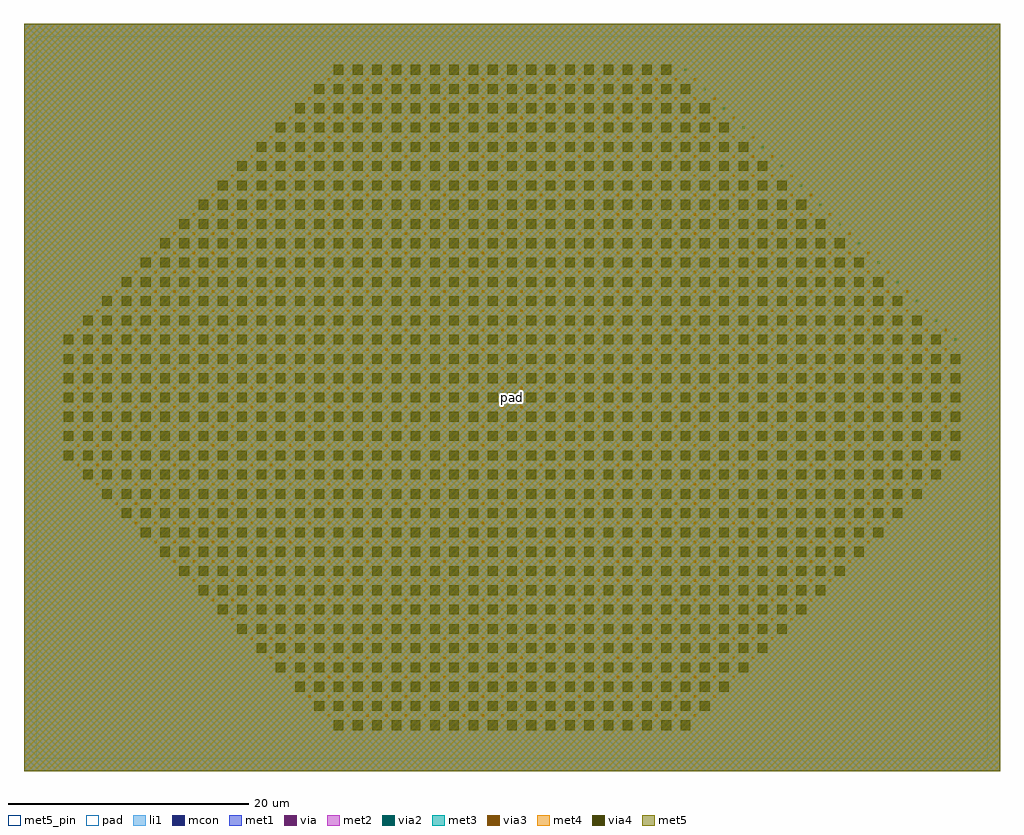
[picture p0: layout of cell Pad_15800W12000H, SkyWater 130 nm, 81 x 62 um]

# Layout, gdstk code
import gdstk
lib = gdstk.Library(unit=1e-6, precision=1e-09)
def R(c, l, rs):  # rectangles x0, y0, x1, y1
    for r in rs: c.add(gdstk.rectangle(r[:2], r[2:], *l))
def A(c, l, x, y, w, h, nx, ny, dx, dy):  # array of equal rectangles
    R(c, l, [(x+i*dx, y+j*dy, x+i*dx+w, y+j*dy+h) for i in range(nx) for j in range(ny)])
li1 = (67, 20)
mcon = (67, 44)
met1 = (68, 20)
via = (68, 44)
met2 = (69, 20)
via2 = (69, 44)
met3 = (70, 20)
via3 = (70, 44)
met4 = (71, 20)
via4 = (71, 44)
met5_pin = (72, 16)
met5 = (72, 20)
pad = (76, 20)

pad_15800w12000h = lib.new_cell('Pad_15800W12000H')
R(pad_15800w12000h, li1, [(-40.5,-31,40.5,31)])
A(pad_15800w12000h, mcon, -14.485, -27.285, 0.17, 0.17, 19, 2, 1.6, 54.4)
A(pad_15800w12000h, mcon, -16.085, -25.685, 0.17, 0.17, 21, 2, 1.6, 51.2)
A(pad_15800w12000h, mcon, -17.685, -24.085, 0.17, 0.17, 23, 2, 1.6, 48)
A(pad_15800w12000h, mcon, -19.285, -22.485, 0.17, 0.17, 25, 2, 1.6, 44.8)
A(pad_15800w12000h, mcon, -20.885, -20.885, 0.17, 0.17, 27, 2, 1.6, 41.6)
A(pad_15800w12000h, mcon, -22.485, -19.285, 0.17, 0.17, 29, 2, 1.6, 38.4)
A(pad_15800w12000h, mcon, -24.085, -17.685, 0.17, 0.17, 31, 2, 1.6, 35.2)
A(pad_15800w12000h, mcon, -25.685, -16.085, 0.17, 0.17, 33, 2, 1.6, 32)
A(pad_15800w12000h, mcon, -27.285, -14.485, 0.17, 0.17, 35, 2, 1.6, 28.8)
A(pad_15800w12000h, mcon, -28.885, -12.885, 0.17, 0.17, 37, 2, 1.6, 25.6)
A(pad_15800w12000h, mcon, -30.485, -11.285, 0.17, 0.17, 39, 2, 1.6, 22.4)
A(pad_15800w12000h, mcon, -32.085, -9.685, 0.17, 0.17, 41, 2, 1.6, 19.2)
A(pad_15800w12000h, mcon, -33.685, -8.085, 0.17, 0.17, 43, 2, 1.6, 16)
A(pad_15800w12000h, mcon, -35.285, -6.485, 0.17, 0.17, 45, 2, 1.6, 12.8)
A(pad_15800w12000h, mcon, -36.885, -4.885, 0.17, 0.17, 47, 7, 1.6, 1.6)
R(pad_15800w12000h, met1, [(-40.5,-31,40.5,31)])
A(pad_15800w12000h, via, -15.275, -26.475, 0.15, 0.15, 20, 2, 1.6, 52.8)
A(pad_15800w12000h, via, -16.875, -24.875, 0.15, 0.15, 22, 2, 1.6, 49.6)
A(pad_15800w12000h, via, -18.475, -23.275, 0.15, 0.15, 24, 2, 1.6, 46.4)
A(pad_15800w12000h, via, -20.075, -21.675, 0.15, 0.15, 26, 2, 1.6, 43.2)
A(pad_15800w12000h, via, -21.675, -20.075, 0.15, 0.15, 28, 2, 1.6, 40)
A(pad_15800w12000h, via, -23.275, -18.475, 0.15, 0.15, 30, 2, 1.6, 36.8)
A(pad_15800w12000h, via, -24.875, -16.875, 0.15, 0.15, 32, 2, 1.6, 33.6)
A(pad_15800w12000h, via, -26.475, -15.275, 0.15, 0.15, 34, 2, 1.6, 30.4)
A(pad_15800w12000h, via, -28.075, -13.675, 0.15, 0.15, 36, 2, 1.6, 27.2)
A(pad_15800w12000h, via, -29.675, -12.075, 0.15, 0.15, 38, 2, 1.6, 24)
A(pad_15800w12000h, via, -31.275, -10.475, 0.15, 0.15, 40, 2, 1.6, 20.8)
A(pad_15800w12000h, via, -32.875, -8.875, 0.15, 0.15, 42, 2, 1.6, 17.6)
A(pad_15800w12000h, via, -34.475, -7.275, 0.15, 0.15, 44, 2, 1.6, 14.4)
A(pad_15800w12000h, via, -36.075, -5.675, 0.15, 0.15, 46, 8, 1.6, 1.6)
R(pad_15800w12000h, met2, [(-40.5,-31,40.5,31)])
A(pad_15800w12000h, via2, -14.5, -27.3, 0.2, 0.2, 19, 2, 1.6, 54.4)
A(pad_15800w12000h, via2, -16.1, -25.7, 0.2, 0.2, 21, 2, 1.6, 51.2)
A(pad_15800w12000h, via2, -17.7, -24.1, 0.2, 0.2, 23, 2, 1.6, 48)
A(pad_15800w12000h, via2, -19.3, -22.5, 0.2, 0.2, 25, 2, 1.6, 44.8)
A(pad_15800w12000h, via2, -20.9, -20.9, 0.2, 0.2, 27, 2, 1.6, 41.6)
A(pad_15800w12000h, via2, -22.5, -19.3, 0.2, 0.2, 29, 2, 1.6, 38.4)
A(pad_15800w12000h, via2, -24.1, -17.7, 0.2, 0.2, 31, 2, 1.6, 35.2)
A(pad_15800w12000h, via2, -25.7, -16.1, 0.2, 0.2, 33, 2, 1.6, 32)
A(pad_15800w12000h, via2, -27.3, -14.5, 0.2, 0.2, 35, 2, 1.6, 28.8)
A(pad_15800w12000h, via2, -28.9, -12.9, 0.2, 0.2, 37, 2, 1.6, 25.6)
A(pad_15800w12000h, via2, -30.5, -11.3, 0.2, 0.2, 39, 2, 1.6, 22.4)
A(pad_15800w12000h, via2, -32.1, -9.7, 0.2, 0.2, 41, 2, 1.6, 19.2)
A(pad_15800w12000h, via2, -33.7, -8.1, 0.2, 0.2, 43, 2, 1.6, 16)
A(pad_15800w12000h, via2, -35.3, -6.5, 0.2, 0.2, 45, 2, 1.6, 12.8)
A(pad_15800w12000h, via2, -36.9, -4.9, 0.2, 0.2, 47, 7, 1.6, 1.6)
R(pad_15800w12000h, met3, [(-40.5,-31,40.5,31)])
A(pad_15800w12000h, via3, -15.3, -26.5, 0.2, 0.2, 20, 2, 1.6, 52.8)
A(pad_15800w12000h, via3, -16.9, -24.9, 0.2, 0.2, 22, 2, 1.6, 49.6)
A(pad_15800w12000h, via3, -18.5, -23.3, 0.2, 0.2, 24, 2, 1.6, 46.4)
A(pad_15800w12000h, via3, -20.1, -21.7, 0.2, 0.2, 26, 2, 1.6, 43.2)
A(pad_15800w12000h, via3, -21.7, -20.1, 0.2, 0.2, 28, 2, 1.6, 40)
A(pad_15800w12000h, via3, -23.3, -18.5, 0.2, 0.2, 30, 2, 1.6, 36.8)
A(pad_15800w12000h, via3, -24.9, -16.9, 0.2, 0.2, 32, 2, 1.6, 33.6)
A(pad_15800w12000h, via3, -26.5, -15.3, 0.2, 0.2, 34, 2, 1.6, 30.4)
A(pad_15800w12000h, via3, -28.1, -13.7, 0.2, 0.2, 36, 2, 1.6, 27.2)
A(pad_15800w12000h, via3, -29.7, -12.1, 0.2, 0.2, 38, 2, 1.6, 24)
A(pad_15800w12000h, via3, -31.3, -10.5, 0.2, 0.2, 40, 2, 1.6, 20.8)
A(pad_15800w12000h, via3, -32.9, -8.9, 0.2, 0.2, 42, 2, 1.6, 17.6)
A(pad_15800w12000h, via3, -34.5, -7.3, 0.2, 0.2, 44, 2, 1.6, 14.4)
A(pad_15800w12000h, via3, -36.1, -5.7, 0.2, 0.2, 46, 8, 1.6, 1.6)
R(pad_15800w12000h, met4, [(-40.5,-31,40.5,31)])
A(pad_15800w12000h, via4, -14.8, -27.6, 0.8, 0.8, 19, 1, 1.6, 0)
A(pad_15800w12000h, via4, -16.4, -26, 0.8, 0.8, 21, 1, 1.6, 0)
A(pad_15800w12000h, via4, -18, -24.4, 0.8, 0.8, 23, 1, 1.6, 0)
A(pad_15800w12000h, via4, -19.6, -22.8, 0.8, 0.8, 25, 1, 1.6, 0)
A(pad_15800w12000h, via4, -21.2, -21.2, 0.8, 0.8, 27, 1, 1.6, 0)
A(pad_15800w12000h, via4, -22.8, -19.6, 0.8, 0.8, 29, 1, 1.6, 0)
A(pad_15800w12000h, via4, -24.4, -18, 0.8, 0.8, 31, 1, 1.6, 0)
A(pad_15800w12000h, via4, -26, -16.4, 0.8, 0.8, 33, 1, 1.6, 0)
A(pad_15800w12000h, via4, -27.6, -14.8, 0.8, 0.8, 35, 1, 1.6, 0)
A(pad_15800w12000h, via4, -29.2, -13.2, 0.8, 0.8, 37, 1, 1.6, 0)
A(pad_15800w12000h, via4, -30.8, -11.6, 0.8, 0.8, 39, 1, 1.6, 0)
A(pad_15800w12000h, via4, -32.4, -10, 0.8, 0.8, 41, 1, 1.6, 0)
A(pad_15800w12000h, via4, -34, -8.4, 0.8, 0.8, 43, 1, 1.6, 0)
A(pad_15800w12000h, via4, -35.6, -6.8, 0.8, 0.8, 45, 1, 1.6, 0)
A(pad_15800w12000h, via4, -37.2, -5.2, 0.8, 0.8, 47, 6, 1.6, 1.6)
A(pad_15800w12000h, via4, -37.2, 4.4, 0.8, 0.8, 46, 1, 1.6, 0)
A(pad_15800w12000h, via4, -35.6, 6, 0.8, 0.8, 44, 1, 1.6, 0)
A(pad_15800w12000h, via4, -34, 7.6, 0.8, 0.8, 42, 1, 1.6, 0)
A(pad_15800w12000h, via4, -32.4, 9.2, 0.8, 0.8, 40, 1, 1.6, 0)
A(pad_15800w12000h, via4, -30.8, 10.8, 0.8, 0.8, 38, 1, 1.6, 0)
A(pad_15800w12000h, via4, -29.2, 12.4, 0.8, 0.8, 36, 1, 1.6, 0)
A(pad_15800w12000h, via4, -27.6, 14, 0.8, 0.8, 34, 1, 1.6, 0)
A(pad_15800w12000h, via4, -26, 15.6, 0.8, 0.8, 32, 1, 1.6, 0)
A(pad_15800w12000h, via4, -24.4, 17.2, 0.8, 0.8, 30, 1, 1.6, 0)
A(pad_15800w12000h, via4, -22.8, 18.8, 0.8, 0.8, 28, 1, 1.6, 0)
A(pad_15800w12000h, via4, -21.2, 20.4, 0.8, 0.8, 26, 1, 1.6, 0)
A(pad_15800w12000h, via4, -19.6, 22, 0.8, 0.8, 24, 1, 1.6, 0)
A(pad_15800w12000h, via4, -18, 23.6, 0.8, 0.8, 22, 1, 1.6, 0)
A(pad_15800w12000h, via4, -16.4, 25.2, 0.8, 0.8, 20, 1, 1.6, 0)
A(pad_15800w12000h, via4, -14.8, 26.8, 0.8, 0.8, 18, 1, 1.6, 0)
R(pad_15800w12000h, met5_pin, [(-39.5,-30,39.5,30)])
R(pad_15800w12000h, met5, [(-40.5,-31,40.5,31)])
R(pad_15800w12000h, pad, [(-39.5,-30,39.5,30)])
pad_15800w12000h.add(gdstk.Label('pad', (0,0), layer=72, texttype=16))
pad_15800w12000h.add(gdstk.Label('pad', (0,0), layer=72, texttype=16))

lib.write_gds('Pad_15800W12000H.gds')
